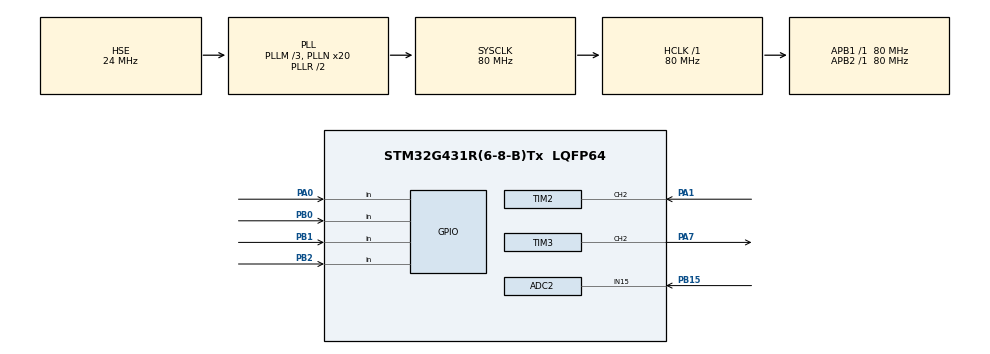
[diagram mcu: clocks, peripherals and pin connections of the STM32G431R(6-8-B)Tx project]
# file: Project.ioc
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ADC2.Channel-0\#ChannelRegularConversion=ADC_CHANNEL_15
ADC2.NbrOfConversionFlag=1
ADC2.OffsetNumber-0\#ChannelRegularConversion=ADC_OFFSET_NONE
ADC2.Rank-0\#ChannelRegularConversion=1
ADC2.SamplingTime-0\#ChannelRegularConversion=ADC_SAMPLETIME_2CYCLES_5
Mcu.Family=STM32G4
Mcu.Name=STM32G431R(6-8-B)Tx
Mcu.Package=LQFP64
NVIC.ADC1_2_IRQn=true\:0\:0\:false\:false\:true\:true\:true\:true
NVIC.PriorityGroup=NVIC_PRIORITYGROUP_4
NVIC.TIM2_IRQn=true\:0\:0\:false\:false\:true\:true\:true\:true
NVIC.TIM3_IRQn=true\:0\:0\:false\:false\:true\:true\:true\:true
NVIC.TIM6_DAC_IRQn=true\:15\:0\:true\:false\:true\:true\:true\:true
PA0.GPIO_Mode=GPIO_MODE_INPUT
PA0.GPIO_PuPd=GPIO_PULLUP
PA0.Signal=GPIO_Input
PA1.Signal=S_TIM2_CH2
PA13.Mode=Serial_Wire
PA13.Signal=SYS_JTMS-SWDIO
PA14.Mode=Serial_Wire
PA14.Signal=SYS_JTCK-SWCLK
PA7.Signal=S_TIM3_CH2
PB0.GPIO_Mode=GPIO_MODE_INPUT
PB0.GPIO_PuPd=GPIO_PULLUP
PB0.Signal=GPIO_Input
PB1.GPIO_Mode=GPIO_MODE_INPUT
PB1.GPIO_PuPd=GPIO_PULLUP
PB1.Signal=GPIO_Input
PB15.Mode=IN15-Single-Ended
PB15.Signal=ADC2_IN15
PB2.GPIO_Mode=GPIO_MODE_INPUT
PB2.GPIO_PuPd=GPIO_PULLUP
PB2.Signal=GPIO_Input
PF0-OSC_IN.Mode=HSE-External-Oscillator
PF0-OSC_IN.Signal=RCC_OSC_IN
PF1-OSC_OUT.Mode=HSE-External-Oscillator
PF1-OSC_OUT.Signal=RCC_OSC_OUT
ProjectManager.HeapSize=0x200
ProjectManager.StackSize=0x400
ProjectManager.TargetToolchain=MDK-ARM V5.32
RCC.ADC12Freq_Value=80000000
RCC.AHBFreq_Value=80000000
RCC.APB1Freq_Value=80000000
RCC.APB1TimFreq_Value=80000000
RCC.APB2Freq_Value=80000000
RCC.APB2TimFreq_Value=80000000
RCC.CortexFreq_Value=80000000
RCC.EXTERNAL_CLOCK_VALUE=12288000
RCC.HCLKFreq_Value=80000000
RCC.HSE_VALUE=24000000
RCC.HSI48_VALUE=48000000
RCC.HSI_VALUE=16000000
RCC.LSE_VALUE=32768
RCC.PLLM=RCC_PLLM_DIV3
RCC.PLLN=20
RCC.PLLSourceVirtual=RCC_PLLSOURCE_HSE
RCC.SYSCLKFreq_VALUE=80000000
RCC.SYSCLKSource=RCC_SYSCLKSOURCE_PLLCLK
RCC.USBFreq_Value=80000000
RCC.VCOOutputFreq_Value=160000000
SH.S_TIM2_CH2.0=TIM2_CH2,Input_Capture2_from_TI2
SH.S_TIM3_CH2.0=TIM3_CH2,PWM Generation2 CH2
TIM2.Channel-Input_Capture2_from_TI2=TIM_CHANNEL_2
TIM2.PeriodNoDither=10000-1
TIM2.Prescaler=80-1
TIM3.Channel-PWM\ Generation2\ CH2=TIM_CHANNEL_2
TIM6.PeriodNoDither=10000-1
TIM6.Prescaler=800-1
VP_SYS_VS_DBSignals.Mode=DisableDeadBatterySignals
VP_TIM2_VS_ClockSourceINT.Mode=Internal
VP_TIM3_VS_ClockSourceINT.Mode=Internal
VP_TIM6_VS_ClockSourceINT.Mode=Enable_Timer
board=custom

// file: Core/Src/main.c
/* USER CODE BEGIN Header */
/**
  ******************************************************************************
  * @file           : main.c
  * @brief          : Main program body
  ******************************************************************************
  * @attention
  *
  * Copyright (c) 2024 STMicroelectronics.
  * All rights reserved.
  *
  * This software is licensed under terms that can be found in the LICENSE file
  * in the root directory of this software component.
  * If no LICENSE file comes with this software, it is provided AS-IS.
  *
  ******************************************************************************
  */
/* USER CODE END Header */
#include "main.h"
#include "adc.h"
#include "tim.h"
#include "gpio.h"

/* USER CODE BEGIN Includes */
#include "led.h"
#include "lcd.h"
#include "stdio.h"
#include "stdbool.h"
/* USER CODE END Includes */

/* USER CODE BEGIN PTD */
unsigned int mode=0,R=4;
int freq;
double ccr,res;
bool led_control=true;
/* USER CODE END PTD */

void SystemClock_Config(void);

int main(void)
{

  /* MCU Configuration--------------------------------------------------------*/

  /* Reset of all peripherals, Initializes the Flash interface and the Systick. */
  HAL_Init();

  /* Configure the system clock */
  SystemClock_Config();

  /* Initialize all configured peripherals */
  MX_GPIO_Init();
  MX_ADC2_Init();
  MX_TIM2_Init();
  MX_TIM3_Init();
  MX_TIM6_Init();
  /* USER CODE BEGIN 2 */
  led_init();
  LCD_Init();
  LCD_Clear(Black);
  LCD_SetBackColor(Black);
  LCD_SetTextColor(White);
  /* USER CODE END 2 */

  /* Infinite loop */
  /* USER CODE BEGIN WHILE */
  HAL_TIM_Base_Start_IT(&htim6);
  HAL_TIM_PWM_Start_IT(&htim3,TIM_CHANNEL_2);
  HAL_TIM_IC_Start_IT(&htim2,TIM_CHANNEL_2);
  while (1)
  {
    if(HAL_GPIO_ReadPin(GPIOB,GPIO_PIN_0)==0){
      while(HAL_GPIO_ReadPin(GPIOB,GPIO_PIN_0)==0);
      mode++;
      if(mode==2)mode=0;
    }else if(HAL_GPIO_ReadPin(GPIOB,GPIO_PIN_1)==0){
      while(HAL_GPIO_ReadPin(GPIOB,GPIO_PIN_1)==0);
      if(mode==1){
        R+=2;
      }
      if(R==12)R=2;
      __HAL_TIM_SET_AUTORELOAD(&htim3,freq/R);
    }else if(HAL_GPIO_ReadPin(GPIOB,GPIO_PIN_2)==0){
      while(HAL_GPIO_ReadPin(GPIOB,GPIO_PIN_2)==0);
      if(mode==1){
        R-=2;
      }
      if(R==0)R=10;
      __HAL_TIM_SET_AUTORELOAD(&htim3,freq/R);
    }else if(HAL_GPIO_ReadPin(GPIOA,GPIO_PIN_0)==0){
      while(HAL_GPIO_ReadPin(GPIOA,GPIO_PIN_0)==0);
      if(led_control==true){
        led_control=false;
        led_OFF(3);
      }
      else led_control=true;
    }
    /* USER CODE END WHILE */

  }
}

void SystemClock_Config(void)
{
  RCC_OscInitTypeDef RCC_OscInitStruct = {0};
  RCC_ClkInitTypeDef RCC_ClkInitStruct = {0};

  /** Configure the main internal regulator output voltage
  */
  HAL_PWREx_ControlVoltageScaling(PWR_REGULATOR_VOLTAGE_SCALE1);

  /** Initializes the RCC Oscillators according to the specified parameters
  * in the RCC_OscInitTypeDef structure.
  */
  RCC_OscInitStruct.OscillatorType = RCC_OSCILLATORTYPE_HSE;
  RCC_OscInitStruct.HSEState = RCC_HSE_ON;
  RCC_OscInitStruct.PLL.PLLState = RCC_PLL_ON;
  RCC_OscInitStruct.PLL.PLLSource = RCC_PLLSOURCE_HSE;
  RCC_OscInitStruct.PLL.PLLM = RCC_PLLM_DIV3;
  RCC_OscInitStruct.PLL.PLLN = 20;
  RCC_OscInitStruct.PLL.PLLP = RCC_PLLP_DIV2;
  RCC_OscInitStruct.PLL.PLLQ = RCC_PLLQ_DIV2;
  RCC_OscInitStruct.PLL.PLLR = RCC_PLLR_DIV2;
  if (HAL_RCC_OscConfig(&RCC_OscInitStruct) != HAL_OK)
  {
    Error_Handler();
  }

  /** Initializes the CPU, AHB and APB buses clocks
  */
  RCC_ClkInitStruct.ClockType = RCC_CLOCKTYPE_HCLK|RCC_CLOCKTYPE_SYSCLK
                              |RCC_CLOCKTYPE_PCLK1|RCC_CLOCKTYPE_PCLK2;
  RCC_ClkInitStruct.SYSCLKSource = RCC_SYSCLKSOURCE_PLLCLK;
  RCC_ClkInitStruct.AHBCLKDivider = RCC_SYSCLK_DIV1;
  RCC_ClkInitStruct.APB1CLKDivider = RCC_HCLK_DIV1;
  RCC_ClkInitStruct.APB2CLKDivider = RCC_HCLK_DIV1;

  if (HAL_RCC_ClockConfig(&RCC_ClkInitStruct, FLASH_LATENCY_2) != HAL_OK)
  {
    Error_Handler();
  }
}

/* USER CODE BEGIN 4 */
char text[30];
void HAL_TIM_PeriodElapsedCallback(TIM_HandleTypeDef *htim){
  if(htim->Instance==TIM6){
    res=getADC(&hadc2);
    if(res<1){
      led_OFF(3);
    }else if(res>=1&&res<3){
      if(led_control==true)led_ON(3);
    }else{
      led_OFF(3);
    }
    if(mode==0){
      if(led_control==true){
        led_ON(1);
        led_OFF(2);
      }else{
        led_OFF(2);
        led_OFF(1);
      }
      LCD_DisplayStringLine(Line2,(u8*)"       Data      ");
      sprintf(text,"   FRQ:%dHz   ",freq);
      LCD_DisplayStringLine(Line4,(u8*)text);
      sprintf(text,"   R37:%.2lfV   ",res);
      LCD_DisplayStringLine(Line6,(u8*)text);
    }else if(mode==1){
      if(led_control==true){
        led_ON(2);
        led_OFF(1);
      }else{
        led_OFF(2);
        led_OFF(1);
      }
      LCD_DisplayStringLine(Line2,(u8*)"       Para      ");
      sprintf(text,"   R:%d       ",R);
      LCD_DisplayStringLine(Line4,(u8*)text);
      LCD_DisplayStringLine(Line6,(u8*)"                    ");
    }
  }
}
void HAL_TIM_IC_CaptureCallback(TIM_HandleTypeDef *htim){
  if(htim->Instance==TIM2){
    if(htim->Channel==HAL_TIM_ACTIVE_CHANNEL_2){
      ccr=HAL_TIM_ReadCapturedValue(&htim2,TIM_CHANNEL_2)+1;
      __HAL_TIM_SetCounter(htim,0);
      freq=(80000000/80)/ccr;
      HAL_TIM_IC_Start(&htim2,TIM_CHANNEL_2);
    }
  }
}
/* USER CODE END 4 */

void Error_Handler(void)
{
  __disable_irq();
  while (1)
  {
  }
}
